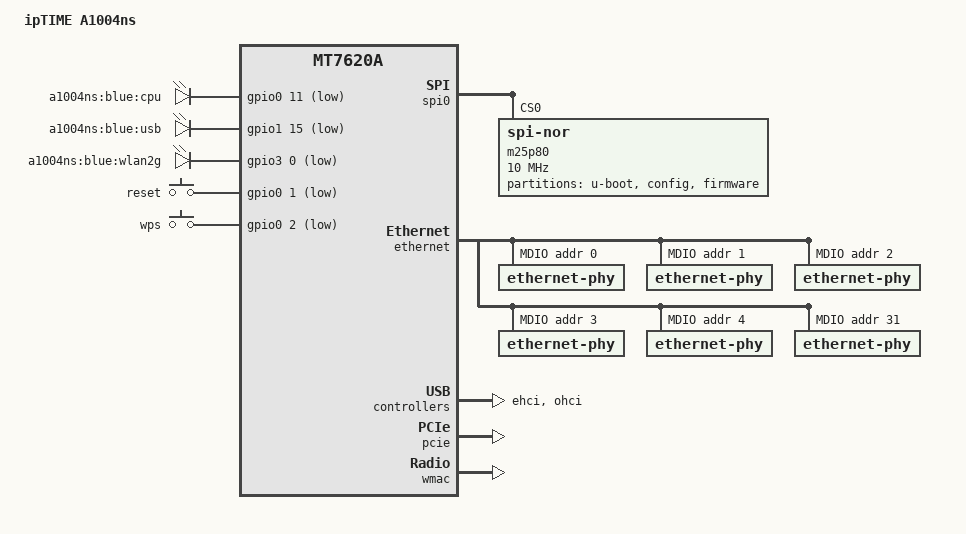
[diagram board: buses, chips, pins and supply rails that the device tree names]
/dts-v1/;

#include "mt7620a.dtsi"

#include <dt-bindings/gpio/gpio.h>
#include <dt-bindings/input/input.h>

/ {
	compatible = "iptime,a1004ns", "ralink,mt7620a-soc";
	model = "ipTIME A1004ns";

	gpio-leds {
		compatible = "gpio-leds";

		cpu {
			label = "a1004ns:blue:cpu";
			gpios = <&gpio0 11 GPIO_ACTIVE_LOW>;
		};

		usb {
			label = "a1004ns:blue:usb";
			gpios = <&gpio1 15 GPIO_ACTIVE_LOW>;
		};

		wlan2g {
			label = "a1004ns:blue:wlan2g";
			gpios = <&gpio3 0 GPIO_ACTIVE_LOW>;
		};
	};

	gpio-keys-polled {
		compatible = "gpio-keys-polled";
		#address-cells = <1>;
		#size-cells = <0>;
		poll-interval = <20>;

		reset {
			label = "reset";
			gpios = <&gpio0 1 GPIO_ACTIVE_LOW>;
			linux,code = <KEY_RESTART>;
		};

		wps {
			label = "wps";
			gpios = <&gpio0 2 GPIO_ACTIVE_LOW>;
			linux,code = <KEY_WPS_BUTTON>;
		};
	};
};

&gpio0 {
	status = "okay";
};

&gpio1 {
	status = "okay";
};

&gpio3 {
	status = "okay";
};

&spi0 {
	status = "okay";

	m25p80@0 {
		#address-cells = <1>;
		#size-cells = <1>;
		compatible = "jedec,spi-nor";
		reg = <0>;
		spi-max-frequency = <10000000>;

		uboot: partition@0 {
			label = "u-boot";
			reg = <0x0 0x20000>;
			read-only;
		};

		partition@20000 {
			label = "config";
			reg = <0x20000 0x10000>;
			read-only;
		};

		partition@30000 {
			label = "firmware";
			reg = <0x30000 0xfd0000>;
		};
	};
};

&pinctrl {
	state_default: pinctrl0 {
		gpio {
			ralink,group = "i2c", "uartf", "spi refclk", "wled";
			ralink,function = "gpio";
		};
	};
};

&ethernet {
	pinctrl-names = "default";
	pinctrl-0 = <&rgmii1_pins &mdio_pins>;
	mtd-mac-address = <&uboot 0x1fc20>;

	port@5 {
		status = "okay";
		mediatek,fixed-link = <1000 1 1 1>;
		phy-mode = "rgmii";
	};

	mdio-bus {
		status = "okay";

		ethernet-phy@0 {
			reg = <0>;
			phy-mode = "rgmii";
		};

		ethernet-phy@1 {
			reg = <1>;
			phy-mode = "rgmii";
		};

		ethernet-phy@2 {
			reg = <2>;
			phy-mode = "rgmii";
		};

		ethernet-phy@3 {
			reg = <3>;
			phy-mode = "rgmii";
		};

		ethernet-phy@4 {
			reg = <4>;
			phy-mode = "rgmii";
		};

		ethernet-phy@1f {
			reg = <0x1f>;
			phy-mode = "rgmii";
		};
	};
};

&ehci {
	status = "okay";
};

&ohci {
	status = "okay";
};

&pcie {
	status = "okay";

	/* MT7610EN is not supported by mt76 on OpenWrt 18.06.1! */
	pcie-bridge {
		mt76@1,0 {
			reg = <0x0000 0 0 0 0>;
			device_type = "pci";
			mediatek,mtd-eeprom = <&uboot 0x1f800>;
			ieee80211-freq-limit = <5000000 6000000>;
		};
	};
};

&wmac {
	ralink,mtd-eeprom = <&uboot 0x1f400>;
};
